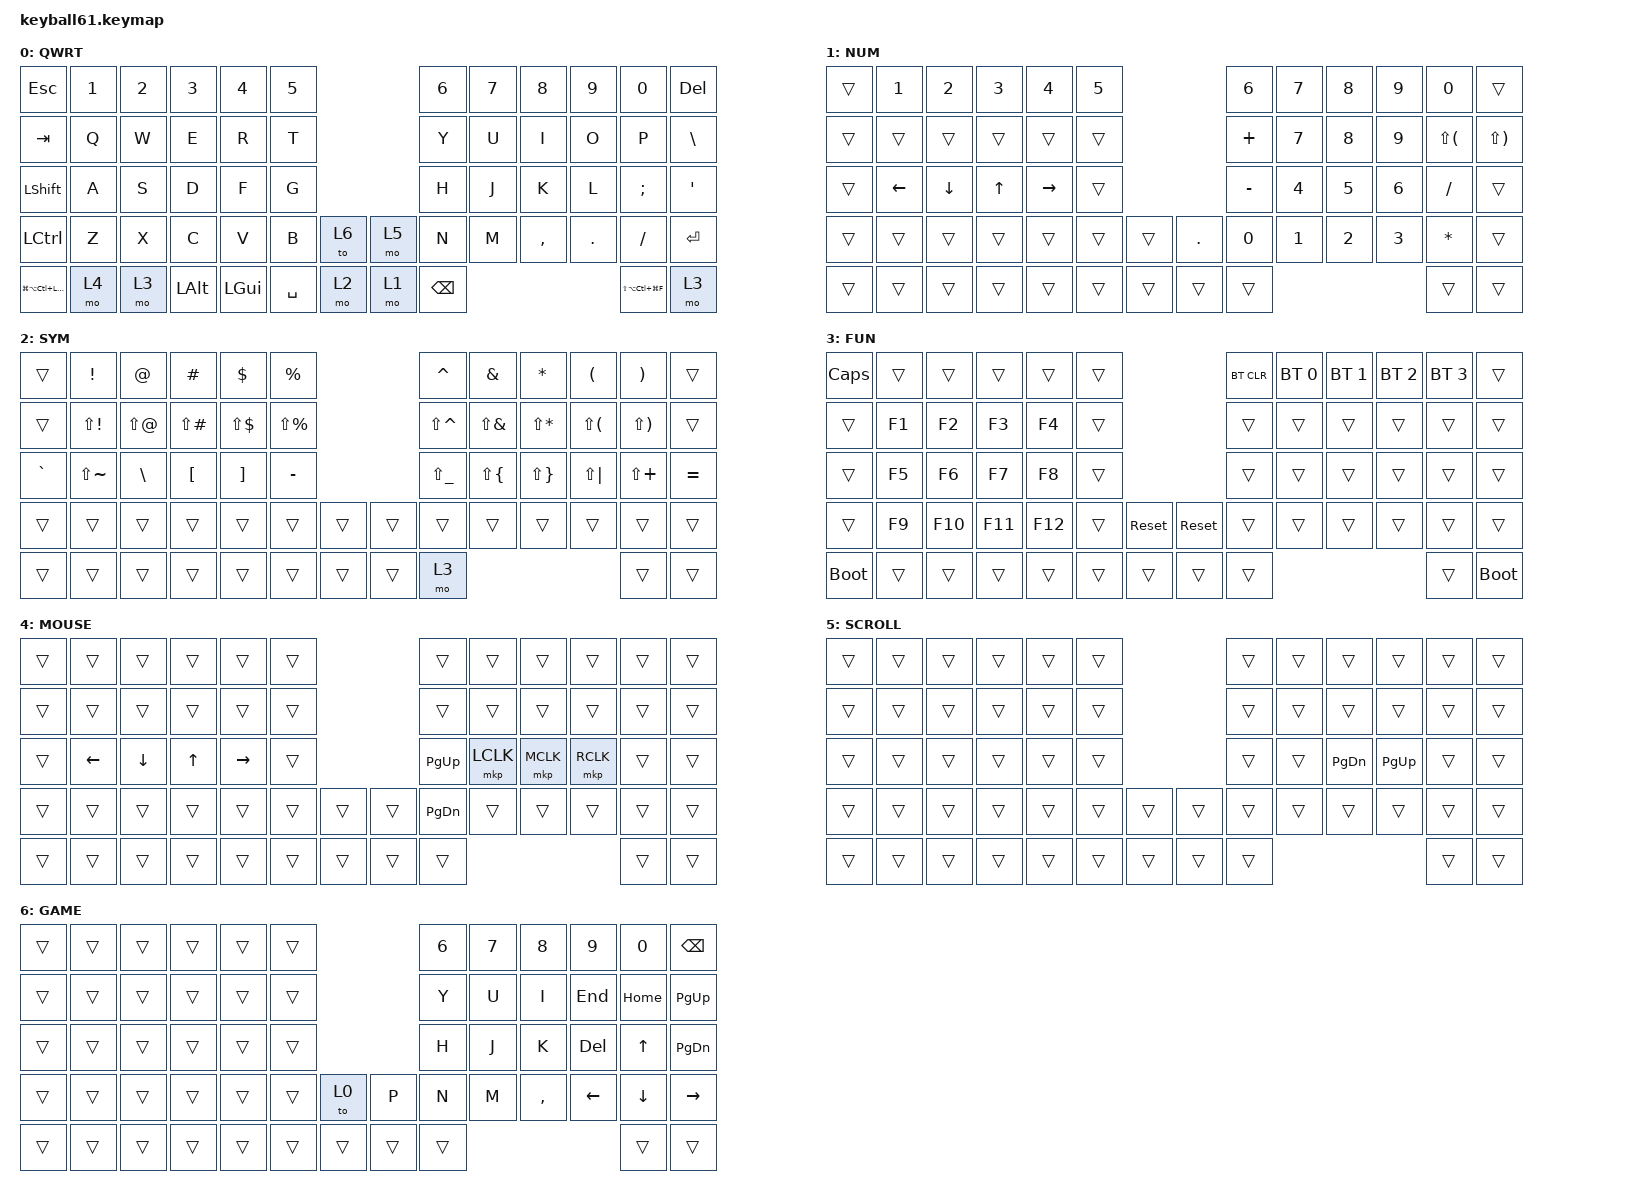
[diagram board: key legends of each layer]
#define DEFAULT 0
#define NUM 1
#define SYM     2
#define FUN     3
#define MOUSE   4
#define SCROLL  5
#define GAME   6

#include <behaviors/mouse_keys.dtsi>
#include <behaviors.dtsi>
#include <dt-bindings/zmk/bt.h>
#include <dt-bindings/zmk/keys.h>
#include <dt-bindings/zmk/mouse.h>

&lt {
    tapping-term-ms = <240>;
    flavor = "balanced";
    quick-tap-ms = <150>;
};

&mt {
    tapping-term-ms = <200>;
    flavor = "tap-preferred";
    quick-tap-ms = <150>;
};


/ {
    keymap {
        compatible = "zmk,keymap";

        default_layer {
            label = "QWRT";
            bindings = <
&kp ESC                     &kp N1  &kp N2  &kp N3    &kp N4    &kp N5                   &kp N6    &kp N7  &kp N8     &kp N9   &kp N0                 &kp DEL
&kp TAB                     &kp Q   &kp W   &kp E     &kp R     &kp T                    &kp Y     &kp U   &kp I      &kp O    &kp P                  &kp BSLH
&kp LSHFT                   &kp A   &kp S   &kp D     &kp F     &kp G                    &kp H     &kp J   &kp K      &kp L    &kp SEMI               &kp SQT
&kp LCTRL                   &kp Z   &kp X   &kp C     &kp V     &kp B      &to 6  &mo 5  &kp N     &kp M   &kp COMMA  &kp DOT  &kp FSLH               &kp RET
&kp LG(LA(LC(LEFT_SHIFT)))  &mo 4   &mo 3   &kp LALT  &kp LGUI  &kp SPACE  &mo 2  &mo 1  &kp BSPC                              &kp LS(LA(LC(LG(F))))  &mo 3
            >;
        };

        number_layer {
            bindings = <
&trans  &kp N1    &kp N2    &kp N3  &kp N4     &kp N5                      &kp N6     &kp N7  &kp N8  &kp N9  &kp N0        &trans
&trans  &trans    &trans    &trans  &trans     &trans                      &kp PLUS   &kp N7  &kp N8  &kp N9  &kp LS(LPAR)  &kp LS(RPAR)
&trans  &kp LEFT  &kp DOWN  &kp UP  &kp RIGHT  &trans                      &kp MINUS  &kp N4  &kp N5  &kp N6  &kp SLASH     &trans
&trans  &trans    &trans    &trans  &trans     &trans  &trans  &kp PERIOD  &kp N0     &kp N1  &kp N2  &kp N3  &kp STAR      &trans
&trans  &trans    &trans    &trans  &trans     &trans  &trans  &trans      &trans                             &trans        &trans
            >;

            label = "NUM";
        };

        symbol_layer {
            label = "SYM";
            bindings = <
&trans     &kp EXCLAMATION  &kp AT_SIGN  &kp HASH       &kp DOLLAR    &kp PERCENT                    &kp CARET      &kp AMPERSAND  &kp ASTERISK  &kp LEFT_PARENTHESIS  &kp RIGHT_PARENTHESIS  &trans
&trans     &kp LS(EXCL)     &kp LS(AT)   &kp LS(POUND)  &kp LS(DLLR)  &kp LS(PRCNT)                  &kp LS(CARET)  &kp LS(AMPS)   &kp LS(STAR)  &kp LS(LPAR)          &kp LS(RPAR)           &trans
&kp GRAVE  &kp LS(TILDE)    &kp BSLH     &kp LBKT       &kp RBKT      &kp MINUS                      &kp LS(UNDER)  &kp LS(LBRC)   &kp LS(RBRC)  &kp LS(PIPE)          &kp LS(PLUS)           &kp EQUAL
&trans     &trans           &trans       &trans         &trans        &trans         &trans  &trans  &trans         &trans         &trans        &trans                &trans                 &trans
&trans     &trans           &trans       &trans         &trans        &trans         &trans  &trans  &mo 3                                                             &trans                 &trans
            >;
        };

        function_layer {
            label = "FUN";
            bindings = <
&kp CLCK     &trans  &trans   &trans   &trans   &trans                          &bt BT_CLR  &bt BT_SEL 0  &bt BT_SEL 1  &bt BT_SEL 2  &bt BT_SEL 3  &trans
&trans       &kp F1  &kp F2   &kp F3   &kp F4   &trans                          &trans      &trans        &trans        &trans        &trans        &trans
&trans       &kp F5  &kp F6   &kp F7   &kp F8   &trans                          &trans      &trans        &trans        &trans        &trans        &trans
&trans       &kp F9  &kp F10  &kp F11  &kp F12  &trans  &sys_reset  &sys_reset  &trans      &trans        &trans        &trans        &trans        &trans
&bootloader  &trans  &trans   &trans   &trans   &trans  &trans      &trans      &trans                                                &trans        &bootloader
            >;
        };

        mouse_layer {
            label = "MOUSE";
            bindings = <
&trans  &trans    &trans    &trans  &trans     &trans                  &trans         &trans     &trans     &trans     &trans  &trans
&trans  &trans    &trans    &trans  &trans     &trans                  &trans         &trans     &trans     &trans     &trans  &trans
&trans  &kp LEFT  &kp DOWN  &kp UP  &kp RIGHT  &trans                  &kp PAGE_UP    &mkp LCLK  &mkp MCLK  &mkp RCLK  &trans  &trans
&trans  &trans    &trans    &trans  &trans     &trans  &trans  &trans  &kp PAGE_DOWN  &trans     &trans     &trans     &trans  &trans
&trans  &trans    &trans    &trans  &trans     &trans  &trans  &trans  &trans                                          &trans  &trans
            >;
        };

        scroll_layer {
            label = "SCROLL";
            bindings = <
&trans  &trans  &trans  &trans  &trans  &trans                  &trans  &trans  &trans         &trans       &trans  &trans
&trans  &trans  &trans  &trans  &trans  &trans                  &trans  &trans  &trans         &trans       &trans  &trans
&trans  &trans  &trans  &trans  &trans  &trans                  &trans  &trans  &kp PAGE_DOWN  &kp PAGE_UP  &trans  &trans
&trans  &trans  &trans  &trans  &trans  &trans  &trans  &trans  &trans  &trans  &trans         &trans       &trans  &trans
&trans  &trans  &trans  &trans  &trans  &trans  &trans  &trans  &trans                                      &trans  &trans
            >;
        };

        game_layer {
            label = "GAME";
            bindings = <
&trans  &trans  &trans  &trans  &trans  &trans                  &kp N6  &kp N7  &kp N8     &kp N9    &kp N0    &kp BSPC
&trans  &trans  &trans  &trans  &trans  &trans                  &kp Y   &kp U   &kp I      &kp END   &kp HOME  &kp PG_UP
&trans  &trans  &trans  &trans  &trans  &trans                  &kp H   &kp J   &kp K      &kp DEL   &kp UP    &kp PG_DN
&trans  &trans  &trans  &trans  &trans  &trans  &to 0   &kp P   &kp N   &kp M   &kp COMMA  &kp LEFT  &kp DOWN  &kp RIGHT
&trans  &trans  &trans  &trans  &trans  &trans  &trans  &trans  &trans                               &trans    &trans
            >;
        };
    };
};
